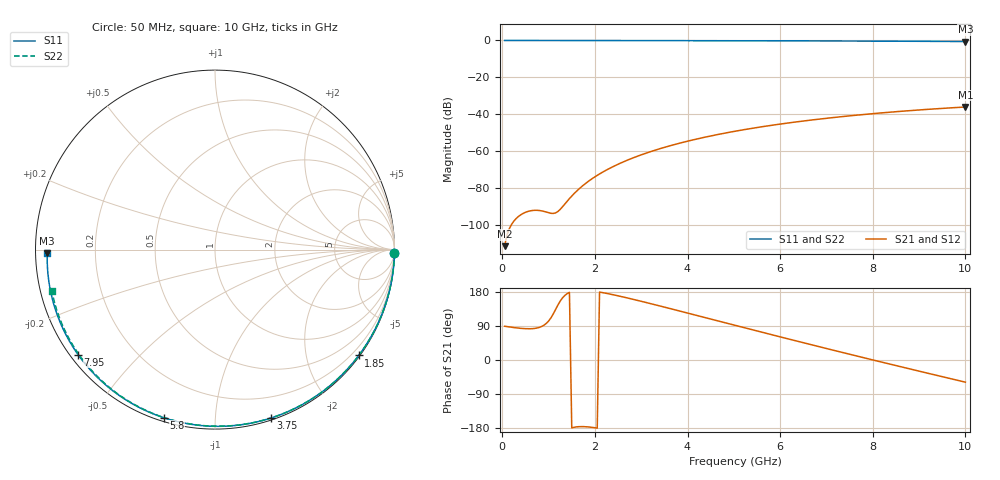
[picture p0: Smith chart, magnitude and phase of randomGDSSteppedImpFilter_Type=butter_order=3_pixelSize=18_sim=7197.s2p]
! freq	dB(S11)	phase(S11)	dB(S12)	phase(S12)
!  dB(S21)	phase(S21)	dB(S22)	phase(S22)
!S-par simulation data
#  GHz  S  DB  R 50
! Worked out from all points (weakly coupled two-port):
!   200 points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, 50 MHz to 10 GHz, reference 50 ohm
!   highest |S21| = -36.13 dB at 10 GHz (marker M1); lowest = -111.7 dB at 50 MHz (marker M2)
!   lowest |S11| = -0.6 dB at 10 GHz (marker M3), VSWR 29.74, Z = 1.68 - j0.538 ohm
!   |S11| at or under -10 dB: nowhere
!   |S22| runs from -0.6 to 0.0 dB; largest |S21 - S12| = 0
!   S11 on the Smith chart (normalised r, x): 50 MHz: open; 1.85 GHz: 0.03, -3.04; 3.75 GHz: 0.02, -1.39; 5.8 GHz: 0.02, -0.74; 7.95 GHz: 0.02, -0.34; 10 GHz: 0.03, -0.01
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0.05  -0.00 -1.0  -111.66 89.1  -111.66 89.1  -0.00 -0.9
0.4  -0.01 -8.0  -94.61 83.5  -94.61 83.5  -0.01 -7.6
0.8  -0.02 -15.9  -92.29 86.1  -92.29 86.1  -0.02 -15.0
1.2  -0.03 -23.8  -92.85 144.9  -92.85 144.9  -0.03 -22.5
1.65  -0.04 -32.5  -80.72 -176.0  -80.72 -176.0  -0.04 -30.7
1.7  -0.04 -33.5  -79.61 -175.7  -79.61 -175.7  -0.04 -31.6
1.75  -0.04 -34.4  -78.56 -175.8  -78.56 -175.8  -0.04 -32.5
1.85  -0.05 -36.4  -76.62 -176.6  -76.62 -176.6  -0.04 -34.4
2.15  -0.05 -42.1  -71.71 178.2  -71.71 178.2  -0.05 -39.8
2.5  -0.06 -48.7  -67.18 169.4  -67.18 169.4  -0.06 -46.0
2.9  -0.07 -56.2  -63.01 157.9  -63.01 157.9  -0.07 -53.1
3.4  -0.09 -65.3  -58.77 142.7  -58.77 142.7  -0.08 -61.7
3.75  -0.10 -71.6  -56.28 131.8  -56.28 131.8  -0.09 -67.7
4.4  -0.12 -83.1  -52.37 111.3  -52.37 111.3  -0.11 -78.5
5.05  -0.15 -94.3  -49.16 90.8  -49.16 90.8  -0.14 -89.1
5.8  -0.18 -106.9  -46.11 67.3  -46.11 67.3  -0.17 -101.0
6.7  -0.24 -121.8  -43.11 39.5  -43.11 39.5  -0.23 -114.9
7.3  -0.28 -131.7  -41.43 21.2  -41.43 21.2  -0.27 -124.0
7.95  -0.34 -142.5  -39.85 1.6  -39.85 1.6  -0.32 -133.8
8.35  -0.38 -149.2  -38.98 -10.3  -38.98 -10.3  -0.36 -139.9
9.2  -0.48 -164.0  -37.36 -35.3  -37.36 -35.3  -0.45 -153.0
10  -0.58 -178.8  -36.13 -58.5  -36.13 -58.5  -0.56 -165.6
